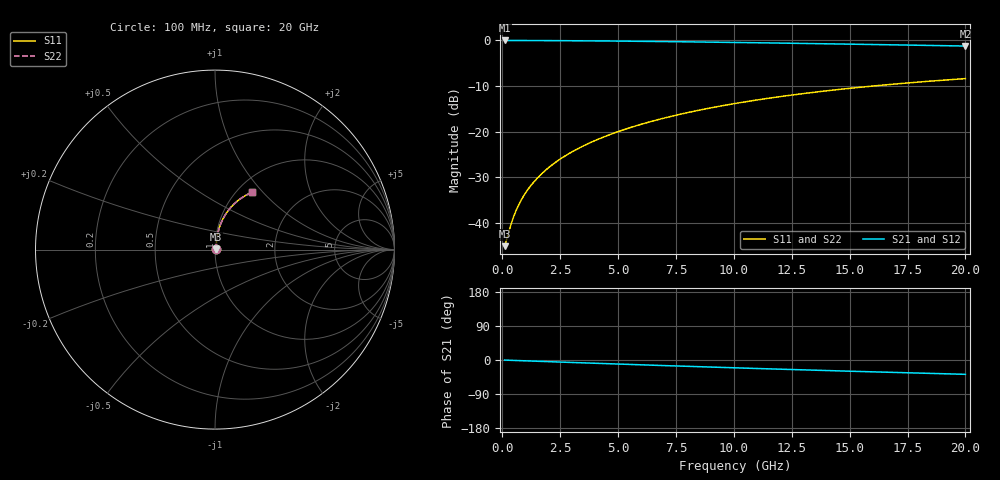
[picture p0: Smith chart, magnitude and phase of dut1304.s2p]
! Touchstone file exported from HFSS 2024.1.0
!  File:  C:/UserFiles/LocalFiles/RDL_TSV_Batchsim/temp_RDL_top_1304_1780364512.aedt
!  Generated:  09:43:46 AM Jun  2, 2026
!  Design:  RDL_top
!  Project:  temp_RDL_top_1304_1780364512
!  Setup:  Setup1
!  Solution:  Sweep
! Variables:
!  dtsv = 10.80580581um
!  hbump = 3um
!  htsv = 89.88um
!  ldown = 100um
!  lrdl = 507.36um
!  p = 40
!  p1 = 43.9um
!  rhole = 1um
!  t = 450um
!  tdown = 3.915915916um
!  trdl = 2.1um
!  wdown = 15.38538539um
!  wrdl = 17.38um
# GHz S MA R 50.000000
! Terminal data exported
! Port[1] = Box2_T1
! Port[2] = Box2_T2
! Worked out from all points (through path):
!   200 points, 100 MHz to 20 GHz, reference 50 ohm
!   highest |S21| = -0.05 dB at 100 MHz (marker M1); lowest = -1.3 dB at 20 GHz (marker M2)
!   group delay of S21, straight-line fit = 5.24 ps
!   lowest |S11| = -45.0 dB at 100 MHz (marker M3), VSWR 1.01, Z = 50.5 + j0.218 ohm
!   |S11| at or under -10 dB: start of sweep to 16.03 GHz
!   |S22| runs from -45.0 to -8.4 dB; largest |S21 - S12| = 2e-15
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0.1  0.005603 22.6  0.9948 -0.2  0.9948 -0.2  0.005603 22.6
! Gamma 0 0 0 0
! Port Impedance 50 0 50 0
0.4  0.01011 56.8  0.9944 -0.9  0.9944 -0.9  0.01011 56.8
0.5  0.01194 61.5  0.9942 -1.1  0.9942 -1.1  0.01195 61.4
0.6  0.01381 64.8  0.994 -1.4  0.994 -1.4  0.01381 64.8
0.7  0.01569 67.3  0.9938 -1.6  0.9938 -1.6  0.01569 67.3
0.9  0.01945 70.8  0.9934 -2.0  0.9934 -2.0  0.01945 70.8
1.2  0.02512 74.1  0.9928 -2.7  0.9928 -2.7  0.02512 74.1
1.4  0.02892 75.6  0.9924 -3.1  0.9924 -3.1  0.02892 75.6
1.7  0.03465 77.2  0.9917 -3.7  0.9917 -3.7  0.03465 77.2
2.2  0.04431 78.9  0.9905 -4.8  0.9905 -4.8  0.04431 78.9
2.8  0.05606 79.9  0.9886 -6.1  0.9886 -6.1  0.05606 79.9
3.5  0.06993 80.3  0.9861 -7.6  0.9861 -7.6  0.06993 80.3
4.2  0.08397 80.3  0.9831 -9.0  0.9831 -9.0  0.08396 80.3
5  0.1002 79.9  0.9792 -10.7  0.9792 -10.7  0.1002 79.9
5.9  0.1186 79.1  0.9743 -12.5  0.9743 -12.5  0.1185 79.1
6.8  0.137 78.1  0.9689 -14.4  0.9689 -14.4  0.137 78.1
8.4  0.1699 76.0  0.9583 -17.5  0.9583 -17.5  0.1699 76.0
10.1  0.2044 73.4  0.946 -20.8  0.946 -20.8  0.2044 73.4
11.7  0.2361 70.8  0.9336 -23.7  0.9336 -23.7  0.2361 70.7
13.4  0.2687 67.9  0.92 -26.8  0.92 -26.8  0.2687 67.9
16.7  0.3278 62.4  0.8925 -32.5  0.8925 -32.5  0.3277 62.3
20  0.3807 57.0  0.8646 -37.8  0.8646 -37.8  0.3806 57.0
